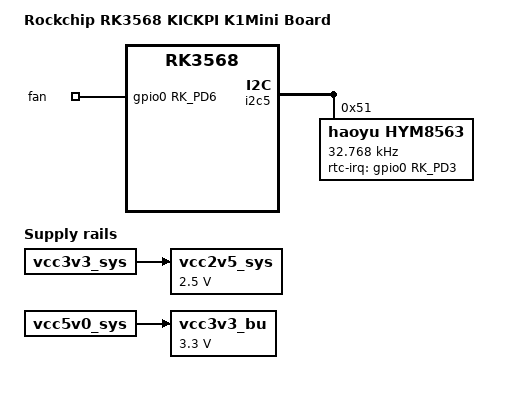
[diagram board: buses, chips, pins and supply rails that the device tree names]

// ============================================================================
//  我们自己的 K1Mini 板级 dtsi（T15-2-3）—— 由 image/install-into-sdk.sh 注入
//
//  这是**厂商 rk3568-kickpi-k1Mini.dtsi 的副本**（SDK HEAD 544b6630a），
//  我们只有两处改动（都在下面标了「我们的改动」）：
//    ① 面板：HDMI → 板端实测那一款 MIPI0 10.1" 800x1280 **v2**
//    ② 末尾追加 image/kernel/rk3568-kickpi-assistant-overrides.dtsi
//       （触摸复位脚等；两份文件合起来才是"这台机器"）
//  为什么用新文件名而不是覆盖厂商文件：厂商文件保持原样，差异一眼可审、可回退。
//
//  判据（详见 docs/image.md §7）：
//    · 板端 live DT（`dtc -I fs` 导出的实际运行设备树）里面板 init sequence 与
//      rk3568-kickpi-lcd-mipi0-10.1-800-1280-v2-k1Mini.dtsi **逐字节一致**
//      （8 寸那款开头是 FF 98 81 03，不是我们）；
//    · 该 LCD 文件里有重复节点 vcc3v3-lcd0-n 与 evb.dtsi 撞名 → 我们用
//      -assistant 副本改成引用式覆盖（见那个文件里的说明）。
// ============================================================================

// SPDX-License-Identifier: (GPL-2.0+ OR MIT)
/*
 * Copyright (c) 2020 Rockchip Electronics Co., Ltd.
 *
 */

/dts-v1/;

#include <dt-bindings/gpio/gpio.h>
#include <dt-bindings/pinctrl/rockchip.h>
#include <dt-bindings/display/rockchip_vop.h>
#include "rk3568.dtsi"
#include "rk3568-kickpi-evb.dtsi"

// LCD —— 我们的改动①：换成板端实测的那一款（10.1" 800x1280 v2 / MIPI0）
//   ⚠ 用**厂商原文件**，不要自己复制一份：它自带的 vcc3v3_lcd0_n / lcd1_n 稳压器
//     与背光**不是**重复定义 —— evb.dtsi 里那两个节点在一段 /* */ 块注释里
//     （见 evb.dtsi 约 285 行起），所以这两处只有这个 LCD 文件在定义。
//     （T15-2-3 第一次就是在这里判错了：以为撞名、改成 &vcc3v3_lcd0_n 覆盖，
//       结果 dtc 报 "Label or path vcc3v3_lcd0_n not found" —— 内核真管线复现。）
#include "rk3568-kickpi-lcd-mipi0-10.1-800-1280-v2-k1Mini.dtsi"
// 厂商原来的 HDMI 那一份（以及其它面板候选）留在这里备查，都不再 include：
// #include "rk3568-kickpi-lcd-hdmi.dtsi"
// #include "rk3568-kickpi-lcd-edp-15.6-1920-1080.dtsi"
// #include "rk3568-kickpi-lcd-mipi0-10.1-800-1280-k1Mini.dtsi"
// #include "rk3568-kickpi-lcd-mipi1-10.1-800-1280-k1Mini.dtsi"
// #include "rk3568-kickpi-lcd-mipi0-10.1-800-1280-v2-k1Mini.dtsi"
// #include "rk3568-kickpi-lcd-mipi1-10.1-800-1280-v2-k1Mini.dtsi"
// #include "rk3568-kickpi-lcd-lvds0-7-1024-600-k1Mini.dtsi"
// #include "rk3568-kickpi-lcd-lvds1-7-1024-600-k1Mini.dtsi"
// #include "rk3568-kickpi-lcd-mipi0-5-720-1280-k1Mini.dtsi"
// #include "rk3568-kickpi-lcd-mipi1-5-720-1280-k1Mini.dtsi"
// #include "rk3568-kickpi-lcd-mipi0-8-800-1280-k1Mini.dtsi"
// #include "rk3568-kickpi-lcd-mipi1-8-800-1280-k1Mini.dtsi"
// #include "rk3568-kickpi-lcd-dual-lvds-32-1920-1080.dtsi"

// Triple LCD
// #include "rk3568-kickpi-triple-lcd-hdmi-mipi1-lvds.dtsi"
// #include "rk3568-kickpi-triple-lcd-edp-mipi1-lvds.dtsi"

// Network
#include "rk3568-kickpi-eth-gmac0.dtsi"
#include "rk3568-kickpi-eth-gmac1.dtsi"
#include "rk3568-kickpi-wifibt.dtsi"

// Camera
//#include "rk3568-kickpi-mipi-camera-gc5035.dtsi"
#include "rk3568-kickpi-mipi-camera-ov5647.dtsi"

// Other
#include "rk3568-kickpi-usb.dtsi"
#include "rk3568-kickpi-ir.dtsi"
#include "rk3568-kickpi-sata.dtsi"
#include "rk3568-kickpi-pcie.dtsi"
#include "rk3568-kickpi-K1mini-extend-40pin.dtsi"


/ {
	model = "Rockchip RK3568 KICKPI K1Mini Board";
	compatible = "rockchip,rk3568-kickpi-k1Mini", "rockchip,rk3568";

	vcc2v5_sys: vcc2v5-ddr {
		compatible = "regulator-fixed";
		regulator-name = "vcc2v5-sys";
		regulator-always-on;
		regulator-boot-on;
		regulator-min-microvolt = <2500000>;
		regulator-max-microvolt = <2500000>;
		vin-supply = <&vcc3v3_sys>;
	};

	vcc3v3_bu: vcc3v3-bu {
		compatible = "regulator-fixed";
		regulator-name = "vcc3v3_bu";
		regulator-always-on;
		regulator-boot-on;
		regulator-min-microvolt = <3300000>;
		regulator-max-microvolt = <3300000>;
		vin-supply = <&vcc5v0_sys>;
	};
/*
	fan0: gpio-fan {
		#cooling-cells = <2>;
		compatible = "gpio-fan";
		gpio-fan,speed-map = <0 0 
								3000 1>;
		gpios = <&gpio0 RK_PD6 GPIO_ACTIVE_HIGH>;
		status = "okay";
	};
	*/
};

&leds {
    fan {
        gpios = <&gpio0 RK_PD6 GPIO_ACTIVE_HIGH>;
        default-state = "on";
    };
};

&rk809_sound {
	// spk-det-gpio = <&gpio4 RK_PC6 GPIO_ACTIVE_LOW>;
	hp-det-gpio = <&gpio1 RK_PD3 GPIO_ACTIVE_HIGH>;
	pinctrl-names = "default";
	pinctrl-0 = <&hp_det>;
	hp-volume = <20>;
	spk-volume = <30>;
};

&i2c5 {
	status = "okay";

	hym8563: hym8563@51 {
		compatible = "haoyu,hym8563";
		reg = <0x51>;
		#clock-cells = <0>;
		clock-frequency = <32768>;
		clock-output-names = "hym8563";
		// IRQ GPIO IS MODIFYED FOR UPDATE HYM8562 DRIVER 
		rtc-irq-gpio = <&gpio0 RK_PD3 IRQ_TYPE_EDGE_FALLING>;
	};
	
};

&pinctrl {
	headphone {
		hp_det: hp-det {
			rockchip,pins = <1 RK_PD3 RK_FUNC_GPIO &pcfg_pull_up>;
		};
	};
};

&rk809_codec {
	/delete-property/ spk-ctl-gpios;
};

// 我们的改动②：这台机器的板级覆盖（触摸复位脚等，逐条带证据）
#include "rk3568-kickpi-assistant-overrides.dtsi"

